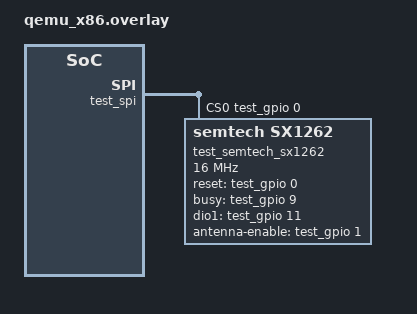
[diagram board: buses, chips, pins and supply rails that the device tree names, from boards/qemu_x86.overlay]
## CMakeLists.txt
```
# SPDX-FileCopyrightText: FoBE Studio
# SPDX-License-Identifier: Apache-2.0

cmake_minimum_required(VERSION 3.20.0)

find_package(Zephyr REQUIRED HINTS $ENV{ZEPHYR_BASE})
project(mbs_radio_service_test)

target_sources(app PRIVATE src/test_api.c)
target_sources_ifdef(CONFIG_TEST_MBS_RADIO_SERVICE_DUT app PRIVATE
		     src/test_service_dut.c)
```

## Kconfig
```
# Copyright (c) 2026 FoBE Studio
# SPDX-License-Identifier: Apache-2.0

mainmenu "Meshbus Radio service test"

config TEST_MBS_RADIO_SERVICE_DUT
	bool "Enable Mesh Probe R2 Radio service-DUT checks"
	help
	  Build the checks that exercise the real Mesh Probe R2 SX1262 through the public
	  Meshbus Radio API. This option is selected only by the dedicated
	  service-DUT Twister scenario.

source "Kconfig.zephyr"
```

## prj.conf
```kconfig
# SPDX-FileCopyrightText: FoBE Studio
# SPDX-License-Identifier: Apache-2.0

CONFIG_ZTEST=y
CONFIG_ASSERT=y
CONFIG_LOG=y

CONFIG_MBS=y
CONFIG_MBS_SHELL=n
CONFIG_MBS_STATS=n
CONFIG_MBS_RADIO=y
CONFIG_MBS_RADIO_SHELL=n
CONFIG_MBS_RADIO_STATS=n
CONFIG_MBS_RADIO_DEFAULT_ENABLED=n
CONFIG_MBS_SETTINGS_PERSISTENCE_DELAY=10

CONFIG_LORA=y
CONFIG_LORA_MODULE_BACKEND_LORAMAC_NODE=n
CONFIG_LORA_MODULE_BACKEND_LORA_BASICS_MODEM=y

CONFIG_ZBUS_RUNTIME_OBSERVERS=y

CONFIG_SETTINGS=y
CONFIG_SETTINGS_ZMS=y
CONFIG_SETTINGS_ZMS_LL_CACHE=y
CONFIG_SETTINGS_ZMS_LL_CACHE_SIZE=512
CONFIG_ZMS=y
CONFIG_ZMS_LOOKUP_CACHE=y
CONFIG_ZMS_LOOKUP_CACHE_SIZE=512
CONFIG_ZMS_LOOKUP_CACHE_FOR_SETTINGS=y
CONFIG_FLASH=y
CONFIG_FLASH_MAP=y
CONFIG_FLASH_SIMULATOR=y

CONFIG_MAIN_STACK_SIZE=4096
CONFIG_SYSTEM_WORKQUEUE_STACK_SIZE=4096
CONFIG_ZTEST_STACK_SIZE=4096
CONFIG_HEAP_MEM_POOL_SIZE=16384
```

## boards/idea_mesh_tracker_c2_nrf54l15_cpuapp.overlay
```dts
/* Dedicated validation-device layout. See README.rst before flashing. */

/delete-node/ &storage_partition;

/ {
	chosen {
		meshbus,radio = &sx1262;
	};
};

&slot1_partition {
	reg = <0x0c2000 0x0a2000>;
};

&cpuapp_rram {
	partitions {
		storage_partition: partition@164000 {
			compatible = "zephyr,mapped-partition";
			label = "meshbus-radio-test-storage";
			reg = <0x164000 0x010000>;
		};

		product_storage_partition: partition@174000 {
			compatible = "zephyr,mapped-partition";
			label = "product-storage-preserved";
			reg = <0x174000 0x009000>;
		};
	};
};
```

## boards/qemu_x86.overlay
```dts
/*
 * SPDX-FileCopyrightText: FoBE Studio
 * SPDX-License-Identifier: Apache-2.0
 */

/ {
	chosen {
		meshbus,radio = &test_semtech_sx1262;
	};

	test {
		#address-cells = <1>;
		#size-cells = <1>;

		test_gpio: gpio@deadbeef {
			compatible = "vnd,gpio";
			gpio-controller;
			reg = <0xdeadbeef 0x1000>;
			#gpio-cells = <0x2>;
			status = "okay";
		};

		test_spi: spi@33334444 {
			#address-cells = <1>;
			#size-cells = <0>;
			compatible = "vnd,spi";
			reg = <0x33334444 0x1000>;
			status = "okay";

			cs-gpios = <&test_gpio 0 0>;

			test_semtech_sx1262: sx1262@0 {
				compatible = "semtech,sx1262";
				status = "okay";
				reg = <0>;
				spi-max-frequency = <16000000>;
				reset-gpios = <&test_gpio 0 0>;
				busy-gpios = <&test_gpio 9 0>;
				dio1-gpios = <&test_gpio 11 0>;
				antenna-enable-gpios = <&test_gpio 1 0>;
				dio2-tx-enable;
				tcxo-power-startup-delay-ms = <5>;
			};
		};
	};
};
```

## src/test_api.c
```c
/* SPDX-License-Identifier: Apache-2.0 */
/*
 * Copyright (c) 2026 FoBE Studio
 */

#include <errno.h>
#include <stdbool.h>
#include <stdint.h>
#include <string.h>

#include <zephyr/kernel.h>
#include <radio/radio.h>
#include <zephyr/settings/settings.h>
#include <zephyr/ztest.h>

#define RADIO_SETTINGS_SUBTREE "meshbus/radio"
#define RADIO_SETTINGS_KEY_CONFIG "config"
#define RADIO_SETTINGS_CONFIG_KEY RADIO_SETTINGS_SUBTREE "/config"
#define RADIO_SETTINGS_RECORD_MAX 256U

struct persisted_setting {
	bool present;
	size_t len;
	uint8_t value[RADIO_SETTINGS_RECORD_MAX];
};

static mbs_radio_config radio_defaults(void)
{
	mbs_radio_config cfg = meshbus_RadioConfig_init_zero;

	cfg.enabled = IS_ENABLED(CONFIG_MBS_RADIO_DEFAULT_ENABLED);
	cfg.frequency = CONFIG_MBS_RADIO_DEFAULT_FREQUENCY;
	cfg.bandwidth = CONFIG_MBS_RADIO_DEFAULT_BANDWIDTH;
	cfg.spread_factor = CONFIG_MBS_RADIO_DEFAULT_SPREAD_FACTOR;
	cfg.coding_rate = CONFIG_MBS_RADIO_DEFAULT_CODING_RATE;
	cfg.preamble_length = CONFIG_MBS_RADIO_DEFAULT_PREAMBLE_LENGTH;
	cfg.tx_power = CONFIG_MBS_RADIO_DEFAULT_TX_POWER;
	cfg.receive_only = IS_ENABLED(CONFIG_MBS_RADIO_DEFAULT_RECEIVE_ONLY);
	cfg.rx_boosted = IS_ENABLED(CONFIG_MBS_RADIO_DEFAULT_RX_BOOSTED);
	cfg.crc = IS_ENABLED(CONFIG_MBS_RADIO_DEFAULT_CRC);
	cfg.duty_cycle = IS_ENABLED(CONFIG_MBS_RADIO_DEFAULT_DUTY_CYCLE);
	cfg.duty_cycle_rx_time = CONFIG_MBS_RADIO_DEFAULT_DUTY_CYCLE_RX_TIME;
	cfg.duty_cycle_sleep_time = CONFIG_MBS_RADIO_DEFAULT_DUTY_CYCLE_SLEEP_TIME;

	return cfg;
}

static mbs_radio_config radio_custom_disabled_config(void)
{
	mbs_radio_config cfg = radio_defaults();

	cfg.enabled = false;
	cfg.frequency = 868100000ULL;
	cfg.bandwidth = 125000U;
	cfg.spread_factor = 9U;
	cfg.coding_rate = 7U;
	cfg.preamble_length = 12U;
	cfg.tx_power = 10;
	cfg.receive_only = true;
	cfg.rx_boosted = false;
	cfg.crc = false;
	cfg.duty_cycle = true;
	cfg.duty_cycle_rx_time = 50U;
	cfg.duty_cycle_sleep_time = 950U;

	return cfg;
}

static mbs_radio_config radio_alternate_disabled_config(void)
{
	mbs_radio_config cfg = radio_custom_disabled_config();

	cfg.frequency = 915000000ULL;
	cfg.spread_factor = 10U;
	cfg.coding_rate = 6U;
	cfg.preamble_length = 16U;
	cfg.tx_power = 14;
	cfg.duty_cycle_rx_time = 75U;
	cfg.duty_cycle_sleep_time = 925U;

	return cfg;
}

static void radio_expect_config_eq(const mbs_radio_config *actual,
				      const mbs_radio_config *expected)
{
	zassert_equal(actual->enabled, expected->enabled, "enabled mismatch");
	zassert_equal(actual->frequency, expected->frequency, "frequency mismatch");
	zassert_equal(actual->bandwidth, expected->bandwidth, "bandwidth mismatch");
	zassert_equal(actual->spread_factor, expected->spread_factor, "spread_factor mismatch");
	zassert_equal(actual->coding_rate, expected->coding_rate, "coding_rate mismatch");
	zassert_equal(actual->preamble_length, expected->preamble_length,
		      "preamble_length mismatch");
	zassert_equal(actual->tx_power, expected->tx_power, "tx_power mismatch");
	zassert_equal(actual->receive_only, expected->receive_only, "receive_only mismatch");
	zassert_equal(actual->rx_boosted, expected->rx_boosted, "rx_boosted mismatch");
	zassert_equal(actual->crc, expected->crc, "crc mismatch");
	zassert_equal(actual->duty_cycle, expected->duty_cycle, "duty_cycle mismatch");
	zassert_equal(actual->duty_cycle_rx_time, expected->duty_cycle_rx_time,
		      "duty_cycle_rx_time mismatch");
	zassert_equal(actual->duty_cycle_sleep_time, expected->duty_cycle_sleep_time,
		      "duty_cycle_sleep_time mismatch");
}

static void radio_wait_for_persistence(void)
{
	k_sleep(K_MSEC(CONFIG_MBS_SETTINGS_PERSISTENCE_DELAY + 50));
}

static int radio_capture_config_cb(const char *key, size_t len,
				   settings_read_cb read_cb, void *cb_arg,
				   void *param)
{
	struct persisted_setting *record = param;
	const char *next = NULL;
	ssize_t bytes_read;

	if (!settings_name_steq(key, RADIO_SETTINGS_KEY_CONFIG, &next) ||
	    next != NULL) {
		return 0;
	}
	if (len > sizeof(record->value)) {
		return -E2BIG;
	}

	bytes_read = read_cb(cb_arg, record->value, len);
	if (bytes_read < 0) {
		return (int)bytes_read;
	}
	if ((size_t)bytes_read != len) {
		return -EIO;
	}

	record->present = true;
	record->len = len;
	return 0;
}

static int radio_read_persisted_config(struct persisted_setting *record)
{
	memset(record, 0, sizeof(*record));
	return settings_load_subtree_direct(RADIO_SETTINGS_SUBTREE,
					    radio_capture_config_cb, record);
}

static void radio_expect_store_present(struct persisted_setting *record_out)
{
	struct persisted_setting record;

	zassert_ok(radio_read_persisted_config(&record),
		   "read persisted radio config failed");
	zassert_true(record.present, "persisted radio config missing");
	zassert_true(record.len > 0U, "persisted radio config is empty");

	if (record_out != NULL) {
		*record_out = record;
	}
}

static void radio_delete_test_residue_keys(void)
{
	static const char *const keys[] = {
		RADIO_SETTINGS_CONFIG_KEY "/99",
		RADIO_SETTINGS_CONFIG_KEY "/0",
		RADIO_SETTINGS_CONFIG_KEY "/33",
		RADIO_SETTINGS_CONFIG_KEY "/4294967296",
		RADIO_SETTINGS_CONFIG_KEY "/999999999999999999999999",
		RADIO_SETTINGS_CONFIG_KEY "/2",
		RADIO_SETTINGS_CONFIG_KEY "/1",
	};

	for (size_t i = 0; i < ARRAY_SIZE(keys); i++) {
		(void)settings_delete(keys[i]);
	}
}

static void radio_expect_store_empty(void)
{
	ssize_t len = settings_get_val_len(RADIO_SETTINGS_CONFIG_KEY);

	zassert_true(len == -ENOENT || len == 0,
		     "radio config blob should be deleted or tombstoned: len=%zd", len);
}

static void radio_reset_state(void)
{
	zassert_ok(mbs_radio_config_reset(), "radio reset failed");
	radio_delete_test_residue_keys();
}

static void *suite_setup(void)
{
	radio_reset_state();
	return NULL;
}

static void test_before(void *fixture)
{
	ARG_UNUSED(fixture);
	radio_reset_state();
}

ZTEST(mbs_radio_contract, test_config_set_persists_record)
{
	mbs_radio_config cfg = radio_custom_disabled_config();
	mbs_radio_config got = meshbus_RadioConfig_init_zero;

	zassert_ok(mbs_radio_config_set(&cfg), "config_set failed");
	radio_wait_for_persistence();

	zassert_ok(mbs_radio_config_get(&got), "config_get failed");
	radio_expect_config_eq(&got, &cfg);
	radio_expect_store_present(NULL);
}

ZTEST(mbs_radio_contract, test_state_event_reflects_disabled_config)
{
	mbs_radio_config cfg = radio_custom_disabled_config();
	struct mbs_radio_state_event before = {0};
	struct mbs_radio_state_event after = {0};

	zassert_ok(zbus_chan_read(&mbs_radio_state_chan, &before, K_NO_WAIT),
		   "state channel read before config_set failed");
	zassert_ok(mbs_radio_config_set(&cfg), "config_set failed");
	zassert_ok(zbus_chan_read(&mbs_radio_state_chan, &after, K_NO_WAIT),
		   "state channel read after config_set failed");

	zassert_false(after.enabled, "state event enabled mismatch");
	zassert_true(after.receive_only, "state event receive_only mismatch");
	zassert_equal(after.state, MBS_RADIO_STATE_IDLE, "state event state mismatch");
	zassert_true(after.sequence > before.sequence,
		     "state event sequence did not advance: before=%u after=%u",
		     before.sequence, after.sequence);
}

ZTEST(mbs_radio_contract, test_cached_status_is_bounded_without_hardware_io)
{
	struct mbs_radio_status status = {0};

	zassert_equal(mbs_radio_status_get(NULL), -EINVAL,
		      "NULL status destination was accepted");
	zassert_ok(mbs_radio_status_get(&status), "cached status get failed");
	zassert_equal(status.state, MBS_RADIO_STATE_IDLE,
		      "disabled status state mismatch");
	zassert_false(status.receiving, "disabled radio reported channel activity");
	zassert_false(status.has_rssi_inst_dbm,
		      "disabled radio exposed an instantaneous RSSI sample");
}

ZTEST(mbs_radio_contract, test_cw_rejects_disabled_radio_without_starting)
{
	struct mbs_radio_cw_request_event request = {
		.frequency_hz = 915125000U,
		.duration_s = 1U,
		.tx_power_dbm = 0,
	};
	struct mbs_radio_cw_done_event before = {0};
	struct mbs_radio_cw_done_event after = {0};

	zassert_ok(zbus_chan_read(&mbs_radio_cw_done_chan, &before, K_NO_WAIT),
		   "continuous-wave completion channel read before request failed");
	zassert_not_equal(zbus_chan_pub(&mbs_radio_cw_chan, &request, K_NO_WAIT),
			  0, "disabled continuous wave was accepted");
	zassert_ok(zbus_chan_read(&mbs_radio_cw_done_chan, &after, K_NO_WAIT),
		   "continuous-wave completion channel read after request failed");
	zassert_equal(after.sequence, before.sequence,
		      "rejected request published a completion event");
}

ZTEST(mbs_radio_contract, test_cw_validates_parameters)
{
	struct mbs_radio_cw_request_event request = {
		.frequency_hz = 399999999U,
		.duration_s = 1U,
		.tx_power_dbm = 0,
	};

	zassert_not_equal(zbus_chan_pub(&mbs_radio_cw_chan, &request, K_NO_WAIT),
			  0, "frequency below range accepted");
	request.frequency_hz = 2500000001U;
	zassert_not_equal(zbus_chan_pub(&mbs_radio_cw_chan, &request, K_NO_WAIT),
			  0, "frequency above range accepted");
	request.frequency_hz = 915125000U;
	request.tx_power_dbm = -1;
	zassert_not_equal(zbus_chan_pub(&mbs_radio_cw_chan, &request, K_NO_WAIT),
			  0, "negative power accepted");
	request.tx_power_dbm = 23;
	zassert_not_equal(zbus_chan_pub(&mbs_radio_cw_chan, &request, K_NO_WAIT),
			  0, "power above range accepted");
	request.tx_power_dbm = 0;
	request.duration_s = 0U;
	zassert_not_equal(zbus_chan_pub(&mbs_radio_cw_chan, &request, K_NO_WAIT),
			  0, "zero duration accepted");
}

ZTEST(mbs_radio_contract, test_settings_reload_restores_config)
{
	mbs_radio_config cfg = radio_custom_disabled_config();
	mbs_radio_config alternate = radio_alternate_disabled_config();
	mbs_radio_config got = meshbus_RadioConfig_init_zero;
	struct persisted_setting record;

	zassert_ok(mbs_radio_config_set(&cfg), "initial config_set failed");
	radio_wait_for_persistence();
	radio_expect_store_present(&record);

	zassert_ok(mbs_radio_config_set(&alternate), "alternate config_set failed");
	radio_wait_for_persistence();
	zassert_ok(settings_save_one(RADIO_SETTINGS_CONFIG_KEY, record.value,
				     record.len),
		   "restore persisted config record failed");

	zassert_ok(settings_load_subtree(RADIO_SETTINGS_SUBTREE), "settings load failed");
	zassert_ok(mbs_radio_config_get(&got), "config_get failed");
	radio_expect_config_eq(&got, &cfg);
}

ZTEST(mbs_radio_contract, test_missing_settings_keep_defaults)
{
	mbs_radio_config got = meshbus_RadioConfig_init_zero;
	mbs_radio_config defaults = radio_defaults();

	zassert_ok(settings_load_subtree(RADIO_SETTINGS_SUBTREE), "settings load failed");
	zassert_ok(mbs_radio_config_get(&got), "config_get failed");
	radio_expect_config_eq(&got, &defaults);
}

ZTEST(mbs_radio_contract, test_invalid_entries_are_ignored)
{
	mbs_radio_config cfg = radio_custom_disabled_config();
	mbs_radio_config got = meshbus_RadioConfig_init_zero;
	static const uint8_t malformed_blob[] = {0xff, 0xff, 0xff};
	static const uint8_t residue_value[] = {0x02};

	zassert_ok(mbs_radio_config_set(&cfg), "config_set failed");
	radio_wait_for_persistence();
	zassert_ok(settings_delete(RADIO_SETTINGS_CONFIG_KEY),
		   "delete settings failed");

	zassert_ok(settings_save_one(RADIO_SETTINGS_CONFIG_KEY "/99", residue_value,
				     sizeof(residue_value)),
		  "save unknown tag failed");
	zassert_ok(settings_save_one(RADIO_SETTINGS_CONFIG_KEY "/0", residue_value,
				     sizeof(residue_value)),
		  "save zero tag failed");
	zassert_ok(settings_save_one(RADIO_SETTINGS_CONFIG_KEY "/33", residue_value,
				     sizeof(residue_value)),
		  "save tag above bitmask capacity failed");
	zassert_ok(settings_save_one(RADIO_SETTINGS_CONFIG_KEY "/4294967296", residue_value,
				     sizeof(residue_value)),
		  "save tag above uint32 failed");
	zassert_ok(settings_save_one(RADIO_SETTINGS_CONFIG_KEY "/999999999999999999999999",
				     residue_value, sizeof(residue_value)),
		  "save overflowing tag failed");
	zassert_ok(settings_save_one(RADIO_SETTINGS_CONFIG_KEY, malformed_blob,
				     sizeof(malformed_blob)),
		   "save malformed blob failed");

	zassert_ok(settings_load_subtree(RADIO_SETTINGS_SUBTREE), "settings load failed");
	zassert_ok(mbs_radio_config_get(&got), "config_get failed");
	radio_expect_config_eq(&got, &cfg);
	radio_delete_test_residue_keys();
	zassert_ok(settings_delete(RADIO_SETTINGS_CONFIG_KEY),
		   "delete malformed blob failed");
}

ZTEST(mbs_radio_contract, test_reset_restores_defaults_and_deletes_keys)
{
	mbs_radio_config cfg = radio_custom_disabled_config();
	mbs_radio_config got = meshbus_RadioConfig_init_zero;
	mbs_radio_config defaults = radio_defaults();

	zassert_ok(mbs_radio_config_set(&cfg), "config_set failed");
	radio_wait_for_persistence();
	radio_expect_store_present(NULL);

	zassert_ok(mbs_radio_config_reset(), "config_reset failed");
	zassert_ok(mbs_radio_config_get(&got), "config_get failed");
	radio_expect_config_eq(&got, &defaults);
	radio_expect_store_empty();
}

ZTEST(mbs_radio_contract, test_reset_succeeds_without_persisted_keys)
{
	mbs_radio_config got = meshbus_RadioConfig_init_zero;
	mbs_radio_config defaults = radio_defaults();

	radio_expect_store_empty();
	zassert_ok(mbs_radio_config_reset(), "config_reset failed on empty store");
	zassert_ok(mbs_radio_config_get(&got), "config_get failed");
	radio_expect_config_eq(&got, &defaults);
	radio_expect_store_empty();
}

ZTEST_SUITE(mbs_radio_contract, NULL, suite_setup, test_before, NULL, NULL);
```

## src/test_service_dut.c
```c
/* SPDX-License-Identifier: Apache-2.0 */
/*
 * Copyright (c) 2026 FoBE Studio
 */

#include <stdbool.h>
#include <stdint.h>

#include <zephyr/devicetree.h>
#include <zephyr/init.h>
#include <zephyr/kernel.h>
#include <radio/radio.h>
#include <zephyr/storage/flash_map.h>
#include <zephyr/zbus/zbus.h>
#include <zephyr/ztest.h>

#define TEST_PARTITION_NODE DT_NODELABEL(storage_partition)
#define PRODUCT_PARTITION_NODE DT_NODELABEL(product_storage_partition)
#define SLOT0_PARTITION_NODE DT_NODELABEL(slot0_partition)
#define SLOT1_PARTITION_NODE DT_NODELABEL(slot1_partition)
#define RRAM_NODE DT_MEM_FROM_PARTITION(TEST_PARTITION_NODE)

#define PARTITION_START(node_id) DT_REG_ADDR(node_id)
#define PARTITION_END(node_id) (DT_REG_ADDR(node_id) + DT_REG_SIZE(node_id))
/*
 * Physical RSSI reads can dominate the configured work reschedule period.
 * Keep the DUT deadline bounded, but leave enough room for three real samples.
 */
#define CALIBRATION_TIMEOUT_MS 5000U

static int test_storage_prepare_rc;
static bool service_dut_result_ready;

BUILD_ASSERT(!IS_ENABLED(CONFIG_FLASH_SIMULATOR),
	     "Mesh Probe R2 scenario must use real RRAM");
BUILD_ASSERT(!IS_ENABLED(CONFIG_MBS_RADIO_DEFAULT_ENABLED),
	     "service-DUT scenario must start with the radio disabled");
BUILD_ASSERT(IS_ENABLED(CONFIG_MBS_RADIO_DEFAULT_RECEIVE_ONLY),
	     "service-DUT scenario must never enable TX");
BUILD_ASSERT(DT_NODE_HAS_STATUS(TEST_PARTITION_NODE, okay),
             "test storage missing");
BUILD_ASSERT(DT_NODE_HAS_STATUS(PRODUCT_PARTITION_NODE, okay),
             "product storage guard missing");
BUILD_ASSERT(DT_REG_ADDR(TEST_PARTITION_NODE) == 0x164000,
             "wrong test storage base");
BUILD_ASSERT(DT_REG_SIZE(TEST_PARTITION_NODE) == 0x10000,
             "wrong test storage size");
BUILD_ASSERT(DT_REG_ADDR(PRODUCT_PARTITION_NODE) == 0x174000,
             "wrong product storage base");
BUILD_ASSERT(DT_REG_SIZE(PRODUCT_PARTITION_NODE) == 0x9000,
             "wrong product storage size");
BUILD_ASSERT(DT_PROP(RRAM_NODE, erase_block_size) == 4096,
             "unexpected erase alignment");
BUILD_ASSERT(DT_PROP(RRAM_NODE, write_block_size) == 16,
             "unexpected write alignment");
BUILD_ASSERT((DT_REG_ADDR(TEST_PARTITION_NODE) %
              DT_PROP(RRAM_NODE, erase_block_size)) == 0,
             "test storage base is not erase aligned");
BUILD_ASSERT((DT_REG_SIZE(TEST_PARTITION_NODE) %
              DT_PROP(RRAM_NODE, erase_block_size)) == 0,
             "test storage size is not erase aligned");
BUILD_ASSERT(PARTITION_END(SLOT0_PARTITION_NODE) <=
                 PARTITION_START(SLOT1_PARTITION_NODE),
             "slot0 overlaps slot1");
BUILD_ASSERT(PARTITION_END(SLOT1_PARTITION_NODE) <=
                 PARTITION_START(TEST_PARTITION_NODE),
             "slot1 overlaps test storage");
BUILD_ASSERT(PARTITION_END(TEST_PARTITION_NODE) <=
                 PARTITION_START(PRODUCT_PARTITION_NODE),
             "test storage overlaps product storage");
BUILD_ASSERT(PARTITION_END(PRODUCT_PARTITION_NODE) <= DT_REG_SIZE(RRAM_NODE),
             "product storage exceeds CPUAPP RRAM");

static int test_storage_flatten(void) {
  const struct flash_area *area = NULL;
  int rc = flash_area_open(DT_FIXED_PARTITION_ID(TEST_PARTITION_NODE), &area);

  if (rc == 0) {
    rc = flash_area_flatten(area, 0, area->fa_size);
    flash_area_close(area);
  }
  return rc;
}

static int radio_test_storage_prepare(void) {
  test_storage_prepare_rc = test_storage_flatten();
  return 0;
}

SYS_INIT(radio_test_storage_prepare, POST_KERNEL, 99);

static void radio_service_dut_after(void *fixture)
{
	int rc;

	ARG_UNUSED(fixture);

	rc = mbs_radio_config_reset();
	zassert_ok(rc, "radio cleanup reset failed: %d", rc);
	k_sleep(K_MSEC(CONFIG_MBS_SETTINGS_PERSISTENCE_DELAY + 50));
	zassert_equal(mbs_radio_state_get(), MBS_RADIO_STATE_IDLE,
		      "radio cleanup did not leave the modem idle");

	if (service_dut_result_ready) {
		printk("MBS_RADIO_HW_RESULT pass receive_only=1 calibration=1 "
		       "recovery=1 cleanup=1\n");
	}
	service_dut_result_ready = false;
}

static void assert_state_event(bool enabled, bool receive_only,
                               enum mbs_radio_state state,
                               uint32_t min_sequence) {
  struct mbs_radio_state_event event = {0};

  zassert_ok(zbus_chan_read(&mbs_radio_state_chan, &event, K_NO_WAIT),
             "state channel read failed");
  zassert_equal(event.enabled, enabled, "enabled state mismatch");
  zassert_equal(event.receive_only, receive_only,
                "receive-only state mismatch");
  zassert_equal(event.state, state, "runtime state mismatch");
  zassert_true(event.sequence > min_sequence,
               "state sequence did not advance: %u", event.sequence);
}

ZTEST(mbs_radio_service_dut, test_receive_only_driver_state_and_recovery) {
  mbs_radio_config cfg = meshbus_RadioConfig_init_zero;
  struct mbs_radio_state_event initial = {0};
  uint32_t airtime_ms;
  uint32_t calibration_started;
  int16_t noise_floor;
  int16_t rssi = 0;

  service_dut_result_ready = false;
  zassert_ok(test_storage_prepare_rc, "test storage prepare failed: %d",
             test_storage_prepare_rc);
  zassert_ok(mbs_radio_config_get(&cfg), "radio config get failed");
  zassert_false(cfg.enabled, "radio default must remain disabled");
  zassert_true(cfg.receive_only, "radio default is not receive-only");
  zassert_equal(mbs_radio_state_get(), MBS_RADIO_STATE_IDLE,
                "radio did not start idle");
  zassert_ok(zbus_chan_read(&mbs_radio_state_chan, &initial, K_NO_WAIT),
             "initial state channel read failed");
  zassert_false(initial.enabled, "initial state event is enabled");
  zassert_true(initial.receive_only, "initial state event permits TX");
  zassert_equal(initial.state, MBS_RADIO_STATE_IDLE,
                "initial state event is not idle");

  cfg.enabled = true;
  zassert_ok(mbs_radio_config_set(&cfg), "radio enable failed");
  zassert_equal(mbs_radio_state_get(), MBS_RADIO_STATE_RECEIVE,
                "radio did not enter receive state");
  assert_state_event(true, true, MBS_RADIO_STATE_RECEIVE,
                     initial.sequence);

  printk("MBS_RADIO_HW_READY mode=receive_only frequency_hz=%llu\n",
         (unsigned long long)cfg.frequency);
  zassert_ok(mbs_radio_rssi_inst(&rssi), "instantaneous RSSI read failed");
  zassert_true(rssi >= -200 && rssi <= 0, "RSSI outside plausible range: %d",
               rssi);
  airtime_ms = mbs_radio_airtime(32U);
  zassert_true(airtime_ms > 0U, "airtime calculation failed");

  mbs_radio_noise_calibrate(6);
  calibration_started = k_uptime_get_32();
  do {
    noise_floor = mbs_radio_noise_floor();
    if (noise_floor != 0) {
      break;
    }
    k_sleep(K_MSEC(25));
  } while ((k_uptime_get_32() - calibration_started) < CALIBRATION_TIMEOUT_MS);
  zassert_true(noise_floor >= -200 && noise_floor < 0,
               "noise calibration did not complete: %d", noise_floor);
  printk(
      "MBS_RADIO_HW_MEASUREMENT rssi_dbm=%d noise_floor_dbm=%d airtime_ms=%u\n",
      rssi, noise_floor, airtime_ms);

  cfg.enabled = false;
  zassert_ok(mbs_radio_config_set(&cfg), "radio disable failed");
  zassert_equal(mbs_radio_state_get(), MBS_RADIO_STATE_IDLE,
                "radio did not enter idle state");
  assert_state_event(false, true, MBS_RADIO_STATE_IDLE, initial.sequence);

  struct mbs_radio_state_event disabled = {0};
  zassert_ok(zbus_chan_read(&mbs_radio_state_chan, &disabled, K_NO_WAIT),
             "disabled state channel read failed");
  cfg.enabled = true;
  cfg.receive_only = true;
  zassert_ok(mbs_radio_config_set(&cfg), "radio re-enable failed");
  zassert_equal(mbs_radio_state_get(), MBS_RADIO_STATE_RECEIVE,
                "radio did not recover receive state");
  assert_state_event(true, true, MBS_RADIO_STATE_RECEIVE,
                     disabled.sequence);
  mbs_radio_agc_reset();
  zassert_equal(mbs_radio_state_get(), MBS_RADIO_STATE_RECEIVE,
                "AGC reset did not restore receive state");
  zassert_ok(mbs_radio_rssi_inst(&rssi), "RSSI read after recovery failed");

  /* Leave the modem idle; the suite after-hook resets persisted config. */
  cfg.enabled = false;
  zassert_ok(mbs_radio_config_set(&cfg), "final radio disable failed");
  service_dut_result_ready = true;
}

ZTEST_SUITE(mbs_radio_service_dut, NULL, NULL, NULL,
	    radio_service_dut_after, NULL);
```
